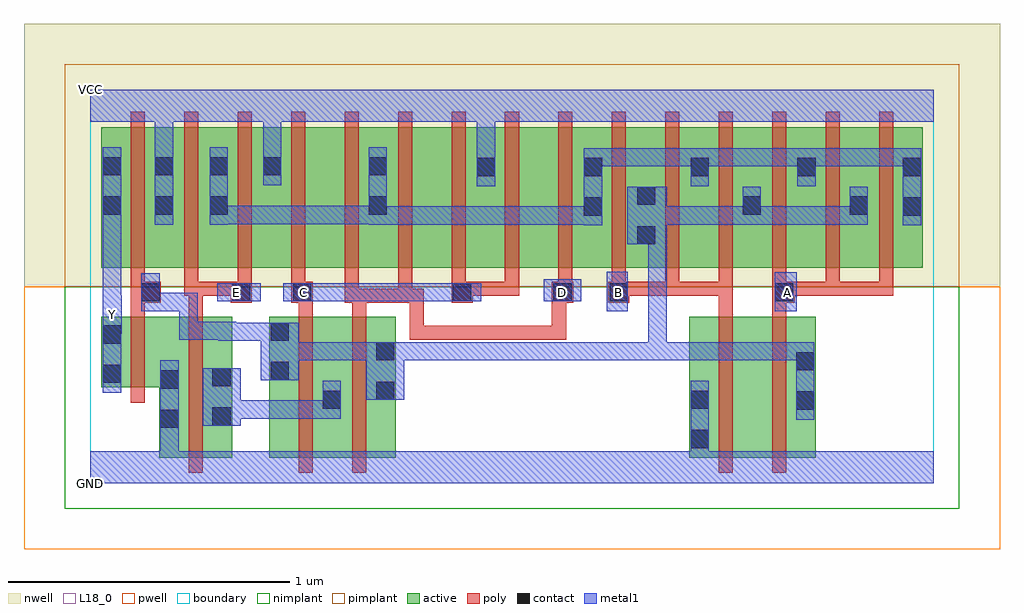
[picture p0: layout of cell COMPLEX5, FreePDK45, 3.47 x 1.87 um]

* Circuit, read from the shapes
.subckt COMPLEX5 A B C D E GND VCC Y
M1 GND n1 Y VSUBS nfet w=0.25u l=0.05u
M2 n2 E GND VSUBS nfet w=0.5u l=0.05u
M3 n2 C n1 VSUBS nfet w=0.5u l=0.05u
M4 n1 D n2 VSUBS nfet w=0.5u l=0.05u
M5 n3 B GND VSUBS nfet w=0.5u l=0.05u
M6 n1 A n3 VSUBS nfet w=0.5u l=0.05u
M7 VCC n1 Y n4 pfet w=0.5u l=0.05u
M8 n5 E VCC n4 pfet w=0.5u l=0.05u m=2
M9 n6 C VCC n4 pfet w=0.5u l=0.05u
M10 n5 D n6 n4 pfet w=0.5u l=0.05u
M11 n7 D n5 n4 pfet w=0.5u l=0.05u
M12 VCC C n7 n4 pfet w=0.5u l=0.05u
M13 n8 C VCC n4 pfet w=0.5u l=0.05u
M14 n5 D n8 n4 pfet w=0.5u l=0.05u
M15 n1 B n5 n4 pfet w=0.5u l=0.05u m=3
M16 n5 A n1 n4 pfet w=0.5u l=0.05u m=3
.ends

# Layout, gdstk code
import gdstk
lib = gdstk.Library(unit=1e-6, precision=1e-09)
def R(c, l, rs):  # rectangles x0, y0, x1, y1
    for r in rs: c.add(gdstk.rectangle(r[:2], r[2:], *l))
def A(c, l, x, y, w, h, nx, ny, dx, dy):  # array of equal rectangles
    R(c, l, [(x+i*dx, y+j*dy, x+i*dx+w, y+j*dy+h) for i in range(nx) for j in range(ny)])
active = (1, 0)
pwell = (2, 0)
nwell = (3, 0)
nimplant = (4, 0)
pimplant = (5, 0)
poly = (9, 0)
contact = (10, 0)
metal1 = (11, 0)
L18_0 = (18, 0)
boundary = (235, 0)

complex5 = lib.new_cell('COMPLEX5')
R(complex5, active, [(0.245,0.092,0.32,0.592), (0.245,0.092,0.505,0.592), (0.637,0.092,0.897,0.592), (0.822,0.092,1.087,0.592), (2.13,0.092,2.355,0.592), (2.13,0.092,2.205,0.592), (2.355,0.092,2.58,0.592), (0.43,0.145,0.505,0.592), (0.637,0.145,0.712,0.592), (0.822,0.145,0.897,0.592), (1.012,0.145,1.087,0.592), (2.505,0.145,2.58,0.592), (0.04,0.342,0.32,0.592), (0.04,0.342,0.115,0.592), (0.04,0.767,0.3,1.267), (0.04,0.767,0.115,1.2), (0.225,0.767,0.3,1.267), (0.225,0.767,0.495,1.267), (0.42,0.767,0.685,1.267), (0.42,0.767,0.495,1.2), (0.61,0.767,0.835,1.267), (0.835,0.767,1.06,1.267), (0.985,0.767,1.06,1.2), (0.985,0.767,1.215,1.267), (1.215,0.767,1.445,1.267), (1.37,0.767,1.595,1.267), (1.37,0.767,1.445,1.267), (1.595,0.767,1.825,1.267), (1.75,0.767,2.015,1.267), (1.75,0.767,1.825,1.2), (1.94,0.767,2.205,1.267), (1.94,0.767,2.015,1.07), (2.13,0.767,2.39,1.267), (2.13,0.767,2.205,1.2), (2.315,0.767,2.39,1.07), (2.315,0.767,2.585,1.267), (2.51,0.767,2.77,1.267), (2.695,0.767,2.96,1.267), (2.695,0.767,2.77,1.07), (2.885,0.767,2.96,1.2), (0.61,0.807,0.685,1.267), (2.51,0.807,2.585,1.2)])
R(complex5, pwell, [(-0.235,-0.235,3.235,0.7)])
R(complex5, nwell, [(-0.235,0.7,3.235,1.635)])
R(complex5, nimplant, [(-0.09,-0.09,3.09,0.7)])
R(complex5, pimplant, [(-0.09,0.7,3.09,1.49)])
A(complex5, poly, 0.145, 0.667, 0.05, 0.095, 4, 1, 0.19, 0)
A(complex5, poly, 1.285, 0.667, 0.05, 0.095, 9, 1, 0.19, 0)
A(complex5, poly, 0.145, 0.712, 0.05, 0.61, 15, 1, 0.19, 0)
R(complex5, poly, [(0.35,0.037,0.4,0.647), (0.742,0.037,0.792,0.647), (0.932,0.037,0.982,0.647), (2.235,0.037,2.285,0.647), (2.425,0.037,2.475,0.647), (0.145,0.287,0.195,0.647), (1.137,0.51,1.187,0.692), (1.137,0.51,1.392,0.56), (1.342,0.51,1.392,0.56), (1.342,0.51,1.392,0.56), (1.342,0.51,1.392,0.56), (1.342,0.51,1.56,0.56), (1.51,0.51,1.56,0.56), (1.51,0.51,1.692,0.56), (1.642,0.51,1.692,0.56), (1.642,0.51,1.692,0.56), (1.642,0.51,1.692,0.56), (1.642,0.51,1.692,0.692), (0.145,0.597,0.195,0.692), (0.35,0.597,0.4,0.717), (0.742,0.597,0.792,0.692), (0.932,0.597,0.982,0.692), (2.235,0.597,2.285,0.717), (2.425,0.597,2.475,0.692), (0.145,0.642,0.252,0.717), (0.5,0.642,0.575,0.717), (0.715,0.642,0.792,0.717), (0.905,0.642,0.955,0.762), (0.905,0.642,0.982,0.692), (0.932,0.642,0.982,0.692), (0.932,0.642,0.982,0.692), (0.932,0.642,1.145,0.692), (1.095,0.642,1.145,0.692), (1.095,0.642,1.145,0.692), (1.095,0.642,1.145,0.692), (1.095,0.642,1.145,0.692), (1.095,0.642,1.145,0.692), (1.095,0.642,1.145,0.762), (1.095,0.642,1.187,0.692), (1.285,0.642,1.36,0.717), (1.642,0.642,1.692,0.692), (1.642,0.642,1.692,0.692), (1.642,0.642,1.717,0.717), (1.842,0.642,1.917,0.717), (2.425,0.642,2.505,0.717), (0.335,0.667,0.4,0.717), (0.35,0.667,0.55,0.717), (0.5,0.667,0.55,0.717), (0.5,0.667,0.55,0.717), (1.31,0.667,1.36,0.717), (1.31,0.667,1.36,0.717), (1.31,0.667,1.525,0.717), (1.475,0.667,1.525,0.717), (1.867,0.667,1.917,0.717), (1.867,0.667,1.917,0.717), (1.867,0.667,2.095,0.717), (2.045,0.667,2.095,0.717), (2.045,0.667,2.285,0.717), (2.235,0.667,2.285,0.717), (2.235,0.667,2.285,0.717), (2.235,0.667,2.285,0.717), (2.455,0.667,2.665,0.717), (2.615,0.667,2.665,0.717), (2.615,0.667,2.665,0.717), (2.615,0.667,2.665,0.717), (2.615,0.667,2.855,0.717), (2.805,0.667,2.855,0.717), (2.805,0.667,2.855,0.717), (2.805,0.667,2.855,0.717)])
A(complex5, contact, 1.375, 1.092, 0.065, 0.065, 4, 1, 0.38, 0)
R(complex5, contact, [(2.135,0.125,2.2,0.19), (0.25,0.197,0.315,0.262), (0.435,0.205,0.5,0.27), (2.51,0.262,2.575,0.327), (0.827,0.265,0.892,0.33), (2.135,0.265,2.2,0.33), (1.017,0.297,1.082,0.362), (0.25,0.337,0.315,0.402), (0.435,0.345,0.5,0.41), (0.045,0.357,0.11,0.422), (0.642,0.367,0.707,0.432), (2.51,0.402,2.575,0.467), (1.017,0.437,1.082,0.502), (0.045,0.497,0.11,0.562), (0.642,0.507,0.707,0.572), (0.182,0.647,0.247,0.712), (0.505,0.647,0.57,0.712), (0.722,0.647,0.787,0.712), (1.29,0.647,1.355,0.712), (1.647,0.647,1.712,0.712), (1.847,0.647,1.912,0.712), (2.435,0.647,2.5,0.712), (1.945,0.85,2.01,0.915), (1.755,0.952,1.82,1.017), (2.89,0.952,2.955,1.017), (0.045,0.955,0.11,1.02), (0.23,0.955,0.295,1.02), (0.425,0.955,0.49,1.02), (0.99,0.955,1.055,1.02), (2.32,0.955,2.385,1.02), (2.7,0.955,2.765,1.02), (1.945,0.99,2.01,1.055), (2.89,1.092,2.955,1.157), (0.045,1.095,0.11,1.16), (0.23,1.095,0.295,1.16), (0.425,1.095,0.49,1.16), (0.615,1.095,0.68,1.16), (0.99,1.095,1.055,1.16)])
R(complex5, metal1, [(0,0,3,0.115), (0.25,0.05,0.315,0.115), (0.25,0.05,0.315,0.115), (0.25,0.05,0.315,0.227), (2.135,0.05,2.2,0.115), (2.135,0.05,2.2,0.115), (2.135,0.05,2.2,0.155), (2.135,0.09,2.2,0.365), (0.25,0.162,0.315,0.437), (0.4,0.205,0.535,0.41), (2.51,0.227,2.575,0.502), (0.47,0.23,0.535,0.295), (0.47,0.23,0.535,0.295), (0.47,0.23,0.745,0.295), (0.68,0.23,0.745,0.295), (0.68,0.23,0.745,0.295), (0.68,0.23,0.745,0.295), (0.68,0.23,0.892,0.295), (0.827,0.23,0.892,0.365), (0.982,0.297,1.117,0.502), (0.045,0.322,0.11,0.597), (0.607,0.367,0.742,0.572), (0.677,0.437,0.742,0.502), (0.677,0.437,0.742,0.502), (0.677,0.437,0.882,0.502), (0.817,0.437,0.882,0.502), (0.817,0.437,0.98,0.502), (0.915,0.437,0.98,0.502), (0.915,0.437,1.047,0.502), (1.052,0.437,1.117,0.502), (1.052,0.437,1.117,0.502), (1.052,0.437,1.255,0.502), (1.19,0.437,1.255,0.502), (1.19,0.437,1.255,0.502), (1.19,0.437,1.255,0.502), (1.19,0.437,1.402,0.502), (1.337,0.437,1.402,0.502), (1.337,0.437,1.54,0.502), (1.475,0.437,1.54,0.502), (1.475,0.437,1.54,0.502), (1.475,0.437,1.54,0.502), (1.475,0.437,1.677,0.502), (1.612,0.437,1.677,0.502), (1.612,0.437,1.677,0.502), (1.612,0.437,1.677,0.502), (1.612,0.437,1.912,0.502), (1.847,0.437,1.912,0.502), (1.847,0.437,2.05,0.502), (1.985,0.437,2.05,0.502), (1.985,0.437,2.05,0.502), (1.985,0.437,2.05,0.502), (1.985,0.437,2.05,0.502), (1.985,0.437,2.05,0.502), (1.985,0.437,2.2,0.502), (1.985,0.437,2.05,0.915), (2.135,0.437,2.2,0.502), (2.135,0.437,2.2,0.502), (2.135,0.437,2.2,0.502), (2.135,0.437,2.337,0.502), (2.272,0.437,2.337,0.502), (2.272,0.437,2.575,0.502), (2.51,0.437,2.575,0.502), (2.51,0.437,2.575,0.502), (0.455,0.507,0.672,0.572), (0.455,0.507,0.52,0.575), (0.317,0.51,0.382,0.575), (0.317,0.51,0.52,0.575), (0.317,0.51,0.382,0.677), (0.045,0.532,0.11,0.597), (0.045,0.532,0.112,0.667), (0.045,0.602,0.11,0.985), (0.182,0.612,0.247,0.677), (0.182,0.612,0.247,0.677), (0.182,0.612,0.247,0.747), (0.182,0.612,0.382,0.677), (0.317,0.612,0.382,0.677), (0.317,0.612,0.382,0.677), (0.317,0.612,0.382,0.677), (1.837,0.612,1.912,0.752), (2.435,0.612,2.512,0.75), (0.452,0.647,0.607,0.712), (0.687,0.647,0.827,0.712), (0.762,0.647,0.91,0.712), (0.845,0.647,0.91,0.712), (0.845,0.647,0.965,0.712), (0.9,0.647,0.965,0.712), (0.9,0.647,1.117,0.712), (1.052,0.647,1.117,0.712), (1.052,0.647,1.117,0.712), (1.052,0.647,1.117,0.712), (1.052,0.647,1.255,0.712), (1.19,0.647,1.255,0.712), (1.19,0.647,1.32,0.712), (1.255,0.647,1.39,0.712), (1.612,0.647,1.747,0.725), (1.91,0.85,2.05,1.055), (1.755,0.917,1.82,1.192), (2.89,0.917,2.955,1.192), (0.045,0.92,0.11,1.195), (0.23,0.92,0.295,1.195), (0.425,0.92,0.49,1.195), (0.99,0.92,1.055,1.195), (0.99,0.92,1.117,0.985), (1.052,0.92,1.117,0.985), (1.052,0.92,1.265,0.985), (1.2,0.92,1.265,0.985), (1.2,0.92,1.402,0.985), (1.337,0.92,1.402,0.985), (1.337,0.92,1.402,0.985), (1.337,0.92,1.402,0.985), (1.337,0.92,1.54,0.985), (1.475,0.92,1.54,0.985), (1.475,0.92,1.54,0.985), (1.475,0.92,1.54,0.985), (1.475,0.92,1.677,0.985), (1.612,0.92,1.677,0.985), (1.612,0.92,1.82,0.985), (1.985,0.92,2.05,0.985), (1.985,0.92,2.05,0.985), (1.985,0.92,2.2,0.985), (2.135,0.92,2.2,0.985), (2.135,0.92,2.2,0.985), (2.135,0.92,2.2,0.985), (2.135,0.92,2.385,0.985), (2.32,0.92,2.385,0.985), (2.32,0.92,2.385,0.985), (2.32,0.92,2.385,1.055), (2.32,0.92,2.522,0.985), (2.457,0.92,2.522,0.985), (2.457,0.92,2.765,0.985), (2.7,0.92,2.765,0.985), (2.7,0.92,2.765,0.985), (2.7,0.92,2.765,1.055), (0.425,0.922,0.605,0.987), (0.54,0.922,0.605,0.987), (0.54,0.922,0.745,0.987), (0.68,0.922,0.745,0.987), (0.68,0.922,0.745,0.987), (0.68,0.922,0.745,0.987), (0.68,0.922,0.882,0.987), (0.817,0.922,0.882,0.987), (0.817,0.922,0.98,0.987), (0.915,0.922,0.98,0.987), (0.915,0.922,1.055,0.987), (1.375,1.057,1.44,1.192), (2.135,1.057,2.2,1.192), (2.515,1.057,2.58,1.192), (0.615,1.06,0.68,1.195), (1.375,1.127,1.44,1.35), (1.755,1.127,1.82,1.192), (1.755,1.127,1.82,1.192), (1.755,1.127,1.82,1.192), (1.755,1.127,1.82,1.192), (1.755,1.127,2.062,1.192), (1.997,1.127,2.062,1.192), (1.997,1.127,2.062,1.192), (1.997,1.127,2.062,1.192), (1.997,1.127,2.2,1.192), (2.135,1.127,2.2,1.192), (2.135,1.127,2.2,1.192), (2.135,1.127,2.385,1.192), (2.32,1.127,2.385,1.192), (2.32,1.127,2.385,1.192), (2.32,1.127,2.385,1.192), (2.32,1.127,2.58,1.192), (2.515,1.127,2.717,1.192), (2.652,1.127,2.717,1.192), (2.652,1.127,2.717,1.192), (2.652,1.127,2.717,1.192), (2.652,1.127,2.955,1.192), (2.89,1.127,2.955,1.192), (2.89,1.127,2.955,1.192), (0.23,1.13,0.295,1.35), (0.615,1.13,0.68,1.35), (0,1.285,3,1.4)])
R(complex5, L18_0, [(0,0,3,0.115), (0.25,0.05,0.315,0.115), (0.25,0.05,0.315,0.115), (0.25,0.05,0.315,0.227), (2.135,0.05,2.2,0.115), (2.135,0.05,2.2,0.115), (2.135,0.05,2.2,0.155), (2.135,0.09,2.2,0.365), (0.25,0.162,0.315,0.437), (0.045,0.322,0.11,0.597), (0.045,0.532,0.112,0.667), (0.045,0.532,0.11,0.597), (0.047,0.567,0.112,0.632), (0.045,0.602,0.11,0.985), (1.837,0.612,1.912,0.752), (2.435,0.612,2.512,0.75), (0.452,0.647,0.607,0.712), (0.487,0.647,0.552,0.712), (0.687,0.647,0.827,0.712), (0.727,0.647,0.792,0.712), (0.762,0.647,0.91,0.712), (0.845,0.647,0.91,0.712), (0.845,0.647,0.965,0.712), (0.9,0.647,0.965,0.712), (0.9,0.647,1.117,0.712), (1.052,0.647,1.117,0.712), (1.052,0.647,1.117,0.712), (1.052,0.647,1.117,0.712), (1.052,0.647,1.255,0.712), (1.19,0.647,1.255,0.712), (1.19,0.647,1.32,0.712), (1.255,0.647,1.39,0.712), (1.612,0.647,1.747,0.725), (1.647,0.647,1.712,0.712), (1.847,0.647,1.912,0.712), (2.447,0.647,2.512,0.712), (0.045,0.92,0.11,1.195), (0.23,0.92,0.295,1.195), (1.375,1.057,1.44,1.192), (0.615,1.06,0.68,1.195), (1.375,1.127,1.44,1.35), (0.23,1.13,0.295,1.35), (0.615,1.13,0.68,1.35), (0,1.285,3,1.4)])
R(complex5, boundary, [(0,0,3,1.4)])
complex5.add(gdstk.Label('A', (2.48,0.68), layer=11, texttype=0))
complex5.add(gdstk.Label('B', (1.88,0.68), layer=11, texttype=0))
complex5.add(gdstk.Label('C', (0.76,0.68), layer=11, texttype=0))
complex5.add(gdstk.Label('D', (1.68,0.68), layer=11, texttype=0))
complex5.add(gdstk.Label('E', (0.52,0.68), layer=11, texttype=0))
complex5.add(gdstk.Label('Y', (0.08,0.6), layer=11, texttype=0))
complex5.add(gdstk.Label('VCC', (0,1.4), layer=11, texttype=0))
complex5.add(gdstk.Label('GND', (0,0), layer=11, texttype=0))

lib.write_gds('COMPLEX5.gds')
